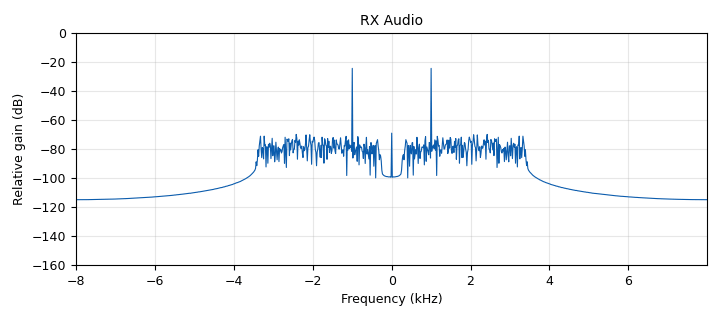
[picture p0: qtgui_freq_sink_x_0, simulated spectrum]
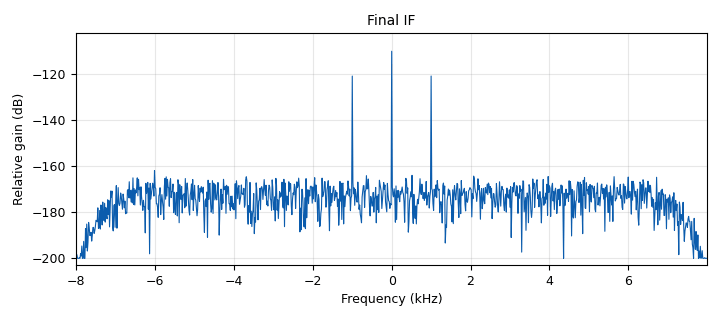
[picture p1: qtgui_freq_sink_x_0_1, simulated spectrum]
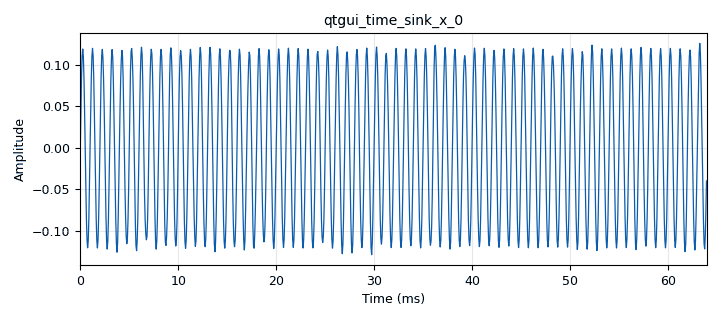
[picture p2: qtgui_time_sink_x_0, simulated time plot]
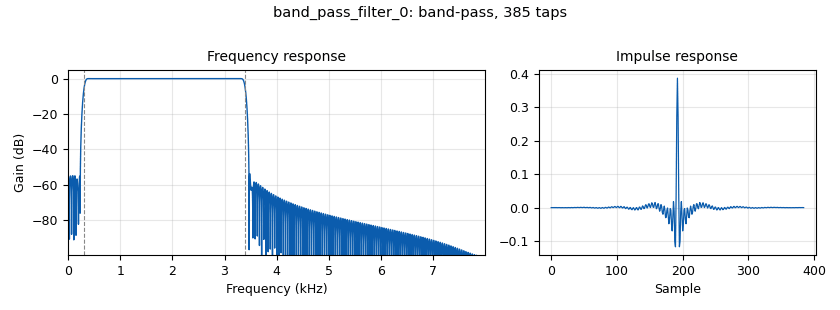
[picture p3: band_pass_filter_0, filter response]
<?xml version='1.0' encoding='utf-8'?>
<?grc format='1' created='3.7.8'?>
<flow_graph>
<block>
<key>options</key>
<param><key>id</key><value>top_block</value></param>
<param><key>category</key><value>Custom</value></param>
<param><key>generate_options</key><value>qt_gui</value></param>
</block>
<block>
<key>variable</key>
<param><key>id</key><value>Anoise</value></param>
<param><key>value</key><value>10**((-174.4+38.751+8)/20)</value></param>
</block>
<block>
<key>variable_qtgui_range</key>
<param><key>id</key><value>Ptx_dBm</value></param>
<param><key>value</key><value>30</value></param>
<param><key>orient</key><value>Qt.Horizontal</value></param>
<param><key>start</key><value>-30</value></param>
<param><key>step</key><value>1</value></param>
<param><key>stop</key><value>50</value></param>
</block>
<block>
<key>variable_qtgui_range</key>
<param><key>id</key><value>frx</value></param>
<param><key>value</key><value>100e3</value></param>
<param><key>orient</key><value>Qt.Horizontal</value></param>
<param><key>start</key><value>90e3</value></param>
<param><key>step</key><value>.1e3</value></param>
<param><key>stop</key><value>110e3</value></param>
</block>
<block>
<key>variable</key>
<param><key>id</key><value>fs_audio</value></param>
<param><key>value</key><value>16000</value></param>
</block>
<block>
<key>variable</key>
<param><key>id</key><value>ftx</value></param>
<param><key>value</key><value>100e3</value></param>
</block>
<block>
<key>variable</key>
<param><key>id</key><value>pathloss_dB</value></param>
<param><key>value</key><value>140</value></param>
</block>
<block>
<key>variable</key>
<param><key>id</key><value>rx_decim</value></param>
<param><key>value</key><value>samp_rate/fs_audio</value></param>
</block>
<block>
<key>variable</key>
<param><key>id</key><value>samp_rate</value></param>
<param><key>value</key><value>480000</value></param>
</block>
<block>
<key>variable_qtgui_label</key>
<param><key>id</key><value>snr</value></param>
<param><key>value</key><value>snr_disp</value></param>
<param><key>type</key><value>int</value></param>
</block>
<block>
<key>variable_function_probe</key>
<param><key>id</key><value>snr_disp</value></param>
<param><key>block_id</key><value>snr_est</value></param>
<param><key>function_name</key><value>snr</value></param>
<param><key>poll_rate</key><value>2</value></param>
<param><key>value</key><value>0</value></param>
</block>
<block>
<key>variable_qtgui_range</key>
<param><key>id</key><value>tonelevel_dB</value></param>
<param><key>value</key><value>-4.77</value></param>
<param><key>orient</key><value>Qt.Horizontal</value></param>
<param><key>start</key><value>-40</value></param>
<param><key>step</key><value>1</value></param>
<param><key>stop</key><value>0</value></param>
</block>
<block>
<key>blocks_multiply_xx</key>
<param><key>id</key><value>IQ_mixer</value></param>
<param><key>type</key><value>complex</value></param>
</block>
<block>
<key>analog_sig_source_x</key>
<param><key>id</key><value>TX_LO</value></param>
<param><key>amp</key><value>1</value></param>
<param><key>freq</key><value>ftx</value></param>
<param><key>offset</key><value>0</value></param>
<param><key>type</key><value>complex</value></param>
<param><key>samp_rate</key><value>samp_rate</value></param>
<param><key>waveform</key><value>analog.GR_SIN_WAVE</value></param>
</block>
<block>
<key>analog_agc2_xx</key>
<param><key>id</key><value>analog_agc2_xx_0</value></param>
<param><key>attack_rate</key><value>1</value></param>
<param><key>decay_rate</key><value>1</value></param>
<param><key>gain</key><value>100</value></param>
<param><key>max_gain</key><value>65535</value></param>
<param><key>reference</key><value>1</value></param>
<param><key>type</key><value>complex</value></param>
</block>
<block>
<key>analog_fastnoise_source_x</key>
<param><key>id</key><value>analog_fastnoise_source_x_0</value></param>
<param><key>amp</key><value>1e-6</value></param>
<param><key>noise_type</key><value>analog.GR_IMPULSE</value></param>
<param><key>type</key><value>float</value></param>
<param><key>seed</key><value>0</value></param>
<param><key>samples</key><value>8192</value></param>
</block>
<block>
<key>audio_sink</key>
<param><key>id</key><value>audio_sink_0</value></param>
<param><key>samp_rate</key><value>16000</value></param>
</block>
<block>
<key>band_pass_filter</key>
<param><key>id</key><value>band_pass_filter_0</value></param>
<param><key>decim</key><value>1</value></param>
<param><key>type</key><value>fir_filter_fff</value></param>
<param><key>gain</key><value>1</value></param>
<param><key>high_cutoff_freq</key><value>3400</value></param>
<param><key>low_cutoff_freq</key><value>300</value></param>
<param><key>samp_rate</key><value>fs_audio</value></param>
<param><key>width</key><value>100</value></param>
<param><key>win</key><value>firdes.WIN_HAMMING</value></param>
</block>
<block>
<key>blocks_complex_to_mag</key>
<param><key>id</key><value>blocks_complex_to_mag_0</value></param>
</block>
<block>
<key>blocks_float_to_complex</key>
<param><key>id</key><value>blocks_float_to_complex_0_0</value></param>
</block>
<block>
<key>blocks_multiply_xx</key>
<param><key>id</key><value>blocks_multiply_xx_0_0</value></param>
<param><key>type</key><value>complex</value></param>
</block>
<block>
<key>blocks_add_xx</key>
<param><key>id</key><value>channel_join</value></param>
<param><key>type</key><value>complex</value></param>
<param><key>num_inputs</key><value>4</value></param>
</block>
<block>
<key>channels_fading_model</key>
<param><key>id</key><value>channels_fading_model_0</value></param>
<param><key>_enabled</key><value>2</value></param>
<param><key>LOS</key><value>True</value></param>
<param><key>fDTs</key><value>10.0/samp_rate</value></param>
<param><key>N</key><value>8</value></param>
<param><key>K</key><value>4.0</value></param>
<param><key>seed</key><value>0</value></param>
</block>
<block>
<key>analog_sig_source_x</key>
<param><key>id</key><value>interferer</value></param>
<param><key>amp</key><value>0</value></param>
<param><key>freq</key><value>ftx</value></param>
<param><key>offset</key><value>0</value></param>
<param><key>type</key><value>complex</value></param>
<param><key>samp_rate</key><value>samp_rate</value></param>
<param><key>waveform</key><value>analog.GR_SIN_WAVE</value></param>
</block>
<block>
<key>low_pass_filter</key>
<param><key>id</key><value>low_pass_filter_0</value></param>
<param><key>cutoff_freq</key><value>3400</value></param>
<param><key>decim</key><value>1</value></param>
<param><key>_enabled</key><value>0</value></param>
<param><key>type</key><value>fir_filter_fff</value></param>
<param><key>gain</key><value>1</value></param>
<param><key>samp_rate</key><value>fs_audio</value></param>
<param><key>width</key><value>500</value></param>
<param><key>win</key><value>firdes.WIN_HAMMING</value></param>
</block>
<block>
<key>blocks_float_to_complex</key>
<param><key>id</key><value>mod_real_to_complex</value></param>
</block>
<block>
<key>analog_sig_source_x</key>
<param><key>id</key><value>mod_source</value></param>
<param><key>amp</key><value>10**(tonelevel_dB/20.)</value></param>
<param><key>freq</key><value>1000</value></param>
<param><key>offset</key><value>0</value></param>
<param><key>type</key><value>float</value></param>
<param><key>samp_rate</key><value>fs_audio</value></param>
<param><key>waveform</key><value>analog.GR_SIN_WAVE</value></param>
</block>
<block>
<key>rational_resampler_xxx</key>
<param><key>id</key><value>mod_upsample</value></param>
<param><key>decim</key><value>1</value></param>
<param><key>interp</key><value>30</value></param>
<param><key>taps</key><value></value></param>
<param><key>type</key><value>ccc</value></param>
</block>
<block>
<key>blocks_multiply_const_vxx</key>
<param><key>id</key><value>pathloss</value></param>
<param><key>const</key><value>10**(-pathloss_dB/20.) </value></param>
<param><key>type</key><value>complex</value></param>
</block>
<block>
<key>qtgui_freq_sink_x</key>
<param><key>id</key><value>qtgui_freq_sink_x_0</value></param>
<param><key>bw</key><value>fs_audio</value></param>
<param><key>fc</key><value>0</value></param>
<param><key>ctrlpanel</key><value>True</value></param>
<param><key>fftsize</key><value>1024</value></param>
<param><key>grid</key><value>True</value></param>
<param><key>name</key><value>RX Audio</value></param>
<param><key>showports</key><value>True</value></param>
<param><key>type</key><value>float</value></param>
<param><key>wintype</key><value>firdes.WIN_RECTANGULAR</value></param>
<param><key>ymax</key><value>0</value></param>
<param><key>ymin</key><value>-160</value></param>
</block>
<block>
<key>qtgui_freq_sink_x</key>
<param><key>id</key><value>qtgui_freq_sink_x_0_1</value></param>
<param><key>autoscale</key><value>True</value></param>
<param><key>bw</key><value>fs_audio</value></param>
<param><key>fc</key><value>0</value></param>
<param><key>fftsize</key><value>1024</value></param>
<param><key>grid</key><value>True</value></param>
<param><key>name</key><value>Final IF</value></param>
<param><key>showports</key><value>True</value></param>
<param><key>type</key><value>complex</value></param>
<param><key>wintype</key><value>firdes.WIN_RECTANGULAR</value></param>
<param><key>ymax</key><value>0</value></param>
<param><key>ymin</key><value>-160</value></param>
</block>
<block>
<key>qtgui_time_sink_x</key>
<param><key>id</key><value>qtgui_time_sink_x_0</value></param>
<param><key>autoscale</key><value>True</value></param>
<param><key>ctrlpanel</key><value>True</value></param>
<param><key>grid</key><value>True</value></param>
<param><key>color1</key><value>"blue"</value></param>
<param><key>label1</key><value></value></param>
<param><key>size</key><value>1024</value></param>
<param><key>srate</key><value>fs_audio</value></param>
<param><key>type</key><value>float</value></param>
</block>
<block>
<key>qtgui_time_sink_x</key>
<param><key>id</key><value>qtgui_time_sink_x_0_0</value></param>
<param><key>autoscale</key><value>True</value></param>
<param><key>ctrlpanel</key><value>True</value></param>
<param><key>_enabled</key><value>0</value></param>
<param><key>grid</key><value>True</value></param>
<param><key>color1</key><value>"blue"</value></param>
<param><key>label1</key><value></value></param>
<param><key>color2</key><value>"red"</value></param>
<param><key>label2</key><value></value></param>
<param><key>size</key><value>1024</value></param>
<param><key>srate</key><value>samp_rate</value></param>
<param><key>type</key><value>complex</value></param>
</block>
<block>
<key>rational_resampler_xxx</key>
<param><key>id</key><value>rational_resampler_xxx_0</value></param>
<param><key>decim</key><value>rx_decim</value></param>
<param><key>interp</key><value>1</value></param>
<param><key>taps</key><value></value></param>
<param><key>type</key><value>ccc</value></param>
</block>
<block>
<key>analog_sig_source_x</key>
<param><key>id</key><value>rx_lo</value></param>
<param><key>amp</key><value>1</value></param>
<param><key>freq</key><value>-frx</value></param>
<param><key>offset</key><value>0</value></param>
<param><key>type</key><value>complex</value></param>
<param><key>samp_rate</key><value>samp_rate</value></param>
<param><key>waveform</key><value>analog.GR_SIN_WAVE</value></param>
</block>
<block>
<key>digital_probe_mpsk_snr_est_c</key>
<param><key>id</key><value>snr_est</value></param>
<param><key>alpha</key><value>0.001</value></param>
<param><key>msg_nsamples</key><value>samp_rate/10</value></param>
<param><key>type</key><value>3</value></param>
</block>
<block>
<key>analog_noise_source_x</key>
<param><key>id</key><value>thermal_noise</value></param>
<param><key>amp</key><value>0</value></param>
<param><key>noise_type</key><value>analog.GR_GAUSSIAN</value></param>
<param><key>type</key><value>complex</value></param>
<param><key>seed</key><value>0</value></param>
</block>
<block>
<key>blocks_multiply_const_vxx</key>
<param><key>id</key><value>transmit_amplifier</value></param>
<param><key>const</key><value>10**(Ptx_dBm/20.) </value></param>
<param><key>type</key><value>complex</value></param>
</block>
<block>
<key>blocks_add_const_vxx</key>
<param><key>id</key><value>tx_carrier_level</value></param>
<param><key>const</key><value>1</value></param>
<param><key>type</key><value>float</value></param>
</block>
<connection><source_block_id>IQ_mixer</source_block_id><sink_block_id>transmit_amplifier</sink_block_id><source_key>0</source_key><sink_key>0</sink_key></connection>
<connection><source_block_id>TX_LO</source_block_id><sink_block_id>IQ_mixer</sink_block_id><source_key>0</source_key><sink_key>0</sink_key></connection>
<connection><source_block_id>analog_agc2_xx_0</source_block_id><sink_block_id>blocks_complex_to_mag_0</sink_block_id><source_key>0</source_key><sink_key>0</sink_key></connection>
<connection><source_block_id>analog_fastnoise_source_x_0</source_block_id><sink_block_id>blocks_float_to_complex_0_0</sink_block_id><source_key>0</source_key><sink_key>0</sink_key></connection>
<connection><source_block_id>band_pass_filter_0</source_block_id><sink_block_id>audio_sink_0</sink_block_id><source_key>0</source_key><sink_key>0</sink_key></connection>
<connection><source_block_id>band_pass_filter_0</source_block_id><sink_block_id>qtgui_freq_sink_x_0</sink_block_id><source_key>0</source_key><sink_key>0</sink_key></connection>
<connection><source_block_id>band_pass_filter_0</source_block_id><sink_block_id>qtgui_time_sink_x_0</sink_block_id><source_key>0</source_key><sink_key>0</sink_key></connection>
<connection><source_block_id>blocks_complex_to_mag_0</source_block_id><sink_block_id>band_pass_filter_0</sink_block_id><source_key>0</source_key><sink_key>0</sink_key></connection>
<connection><source_block_id>blocks_complex_to_mag_0</source_block_id><sink_block_id>low_pass_filter_0</sink_block_id><source_key>0</source_key><sink_key>0</sink_key></connection>
<connection><source_block_id>blocks_float_to_complex_0_0</source_block_id><sink_block_id>channel_join</sink_block_id><source_key>0</source_key><sink_key>3</sink_key></connection>
<connection><source_block_id>blocks_float_to_complex_0_0</source_block_id><sink_block_id>qtgui_time_sink_x_0_0</sink_block_id><source_key>0</source_key><sink_key>0</sink_key></connection>
<connection><source_block_id>blocks_multiply_xx_0_0</source_block_id><sink_block_id>rational_resampler_xxx_0</sink_block_id><source_key>0</source_key><sink_key>0</sink_key></connection>
<connection><source_block_id>channel_join</source_block_id><sink_block_id>blocks_multiply_xx_0_0</sink_block_id><source_key>0</source_key><sink_key>0</sink_key></connection>
<connection><source_block_id>channels_fading_model_0</source_block_id><sink_block_id>channel_join</sink_block_id><source_key>0</source_key><sink_key>1</sink_key></connection>
<connection><source_block_id>interferer</source_block_id><sink_block_id>channel_join</sink_block_id><source_key>0</source_key><sink_key>0</sink_key></connection>
<connection><source_block_id>low_pass_filter_0</source_block_id><sink_block_id>audio_sink_0</sink_block_id><source_key>0</source_key><sink_key>0</sink_key></connection>
<connection><source_block_id>low_pass_filter_0</source_block_id><sink_block_id>qtgui_freq_sink_x_0</sink_block_id><source_key>0</source_key><sink_key>0</sink_key></connection>
<connection><source_block_id>low_pass_filter_0</source_block_id><sink_block_id>qtgui_time_sink_x_0</sink_block_id><source_key>0</source_key><sink_key>0</sink_key></connection>
<connection><source_block_id>mod_real_to_complex</source_block_id><sink_block_id>mod_upsample</sink_block_id><source_key>0</source_key><sink_key>0</sink_key></connection>
<connection><source_block_id>mod_source</source_block_id><sink_block_id>tx_carrier_level</sink_block_id><source_key>0</source_key><sink_key>0</sink_key></connection>
<connection><source_block_id>mod_upsample</source_block_id><sink_block_id>IQ_mixer</sink_block_id><source_key>0</source_key><sink_key>1</sink_key></connection>
<connection><source_block_id>pathloss</source_block_id><sink_block_id>channels_fading_model_0</sink_block_id><source_key>0</source_key><sink_key>0</sink_key></connection>
<connection><source_block_id>rational_resampler_xxx_0</source_block_id><sink_block_id>analog_agc2_xx_0</sink_block_id><source_key>0</source_key><sink_key>0</sink_key></connection>
<connection><source_block_id>rational_resampler_xxx_0</source_block_id><sink_block_id>qtgui_freq_sink_x_0_1</sink_block_id><source_key>0</source_key><sink_key>0</sink_key></connection>
<connection><source_block_id>rational_resampler_xxx_0</source_block_id><sink_block_id>snr_est</sink_block_id><source_key>0</source_key><sink_key>0</sink_key></connection>
<connection><source_block_id>rx_lo</source_block_id><sink_block_id>blocks_multiply_xx_0_0</sink_block_id><source_key>0</source_key><sink_key>1</sink_key></connection>
<connection><source_block_id>thermal_noise</source_block_id><sink_block_id>channel_join</sink_block_id><source_key>0</source_key><sink_key>2</sink_key></connection>
<connection><source_block_id>transmit_amplifier</source_block_id><sink_block_id>pathloss</sink_block_id><source_key>0</source_key><sink_key>0</sink_key></connection>
<connection><source_block_id>tx_carrier_level</source_block_id><sink_block_id>mod_real_to_complex</sink_block_id><source_key>0</source_key><sink_key>0</sink_key></connection>
</flow_graph>
